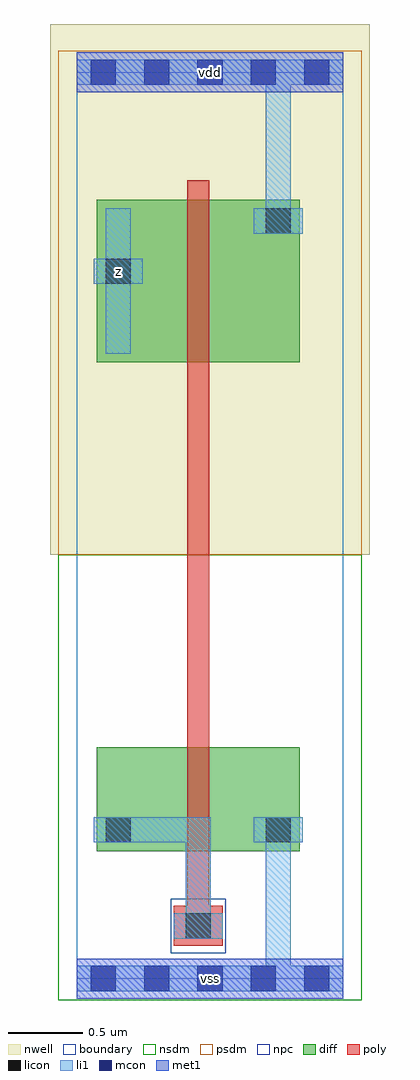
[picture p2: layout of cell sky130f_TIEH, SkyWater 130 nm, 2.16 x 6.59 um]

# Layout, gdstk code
import gdstk
lib = gdstk.Library(unit=1e-6, precision=1e-09)
def R(c, l, rs):  # rectangles x0, y0, x1, y1
    for r in rs: c.add(gdstk.rectangle(r[:2], r[2:], *l))
def A(c, l, x, y, w, h, nx, ny, dx, dy):  # array of equal rectangles
    R(c, l, [(x+i*dx, y+j*dy, x+i*dx+w, y+j*dy+h) for i in range(nx) for j in range(ny)])
L0_0 = (0, 0)
nwell = (64, 20)
diff = (65, 20)
poly = (66, 20)
licon = (66, 44)
li1 = (67, 20)
mcon = (67, 44)
met1 = (68, 20)
nsdm = (93, 44)
psdm = (94, 20)
npc = (95, 20)
boundary = (235, 4)

sky130f_tieh = lib.new_cell('sky130f_TIEH')
R(sky130f_tieh, nwell, [(-0.18,2.86,1.98,6.445)])
R(sky130f_tieh, diff, [(0.135,0.86,1.505,1.56), (0.135,0.86,0.425,1.15), (1.215,0.86,1.505,1.15), (0.135,4.16,1.505,5.26), (0.135,4.63,0.425,4.92), (1.215,4.97,1.505,5.26)])
R(sky130f_tieh, poly, [(0.655,0.22,0.985,0.49), (0.745,0.28,0.895,1.08), (0.745,0.73,0.895,1.69), (0.745,0.93,0.895,4.38), (0.745,0.93,0.895,1.49), (0.745,4.03,0.895,5.39)])
R(sky130f_tieh, licon, [(0.735,0.27,0.905,0.44), (0.195,0.92,0.365,1.09), (1.275,0.92,1.445,1.09), (0.195,4.69,0.365,4.86), (1.275,5.03,1.445,5.2)])
R(sky130f_tieh, li1, [(0,-0.085,1.8,0.085), (1.275,0.06,1.445,1.09), (0.655,0.27,0.985,0.44), (0.735,0.27,0.905,1.09), (0.115,0.92,0.445,1.09), (0.195,0.92,0.905,1.09), (1.195,0.92,1.525,1.09), (0.195,4.22,0.365,5.2), (0.115,4.69,0.445,4.86), (1.195,5.03,1.525,5.2), (1.275,5.03,1.445,6.06), (0,6.035,1.8,6.205)])
A(sky130f_tieh, mcon, 0.095, -0.085, 0.17, 0.17, 5, 2, 0.36, 6.12)
R(sky130f_tieh, met1, [(0,-0.135,1.8,0.135), (0,5.985,1.8,6.255)])
R(sky130f_tieh, nsdm, [(-0.125,-0.145,1.925,0.145), (-0.125,0.145,1.925,2.86)])
R(sky130f_tieh, psdm, [(-0.125,2.86,1.925,5.975), (-0.125,5.975,1.925,6.265)])
R(sky130f_tieh, npc, [(0.635,0.17,1.005,0.54)])
R(sky130f_tieh, boundary, [(0,0,1.8,6.12)])
sky130f_tieh.add(gdstk.FlexPath([(0.115,0.355),(1.525,0.355)], 0, ends="flush", simple_path=True, layer=0, datatype=0))  # L0_0
sky130f_tieh.add(gdstk.FlexPath([(0.115,1.005),(1.525,1.005)], 0, ends="flush", simple_path=True, layer=0, datatype=0))  # L0_0
sky130f_tieh.add(gdstk.FlexPath([(0.115,1.415),(1.525,1.415)], 0, ends="flush", simple_path=True, layer=0, datatype=0))  # L0_0
sky130f_tieh.add(gdstk.FlexPath([(0.115,2.065),(1.525,2.065)], 0, ends="flush", simple_path=True, layer=0, datatype=0))  # L0_0
sky130f_tieh.add(gdstk.FlexPath([(0.115,2.605),(1.525,2.605)], 0, ends="flush", simple_path=True, layer=0, datatype=0))  # L0_0
sky130f_tieh.add(gdstk.FlexPath([(0.115,3.145),(1.525,3.145)], 0, ends="flush", simple_path=True, layer=0, datatype=0))  # L0_0
sky130f_tieh.add(gdstk.FlexPath([(0.115,4.305),(1.525,4.305)], 0, ends="flush", simple_path=True, layer=0, datatype=0))  # L0_0
sky130f_tieh.add(gdstk.FlexPath([(0.115,4.775),(1.525,4.775)], 0, ends="flush", simple_path=True, layer=0, datatype=0))  # L0_0
sky130f_tieh.add(gdstk.FlexPath([(0.115,5.115),(1.525,5.115)], 0, ends="flush", simple_path=True, layer=0, datatype=0))  # L0_0
sky130f_tieh.add(gdstk.FlexPath([(0.115,5.765),(1.525,5.765)], 0, ends="flush", simple_path=True, layer=0, datatype=0))  # L0_0
sky130f_tieh.add(gdstk.FlexPath([(0.28,0.06),(0.28,6.06)], 0, ends="flush", simple_path=True, layer=0, datatype=0))  # L0_0
sky130f_tieh.add(gdstk.FlexPath([(0.82,0.06),(0.82,6.06)], 0, ends="flush", simple_path=True, layer=0, datatype=0))  # L0_0
sky130f_tieh.add(gdstk.FlexPath([(1.36,0.06),(1.36,6.06)], 0, ends="flush", simple_path=True, layer=0, datatype=0))  # L0_0
sky130f_tieh.add(gdstk.Label('z', (0.28,4.775), layer=65, texttype=20))
sky130f_tieh.add(gdstk.Label('z', (0.28,4.775), layer=66, texttype=44))
sky130f_tieh.add(gdstk.Label('z', (0.28,4.775), layer=67, texttype=5))
sky130f_tieh.add(gdstk.Label('z', (0.28,4.71), layer=67, texttype=5))
sky130f_tieh.add(gdstk.Label('vss', (0.9,0), layer=67, texttype=5))
sky130f_tieh.add(gdstk.Label('vdd', (0.9,6.12), layer=67, texttype=5))
sky130f_tieh.add(gdstk.Label('vss', (0.9,0), layer=68, texttype=5))
sky130f_tieh.add(gdstk.Label('vdd', (0.9,6.12), layer=68, texttype=5))

lib.write_gds('sky130f_TIEH.gds')
